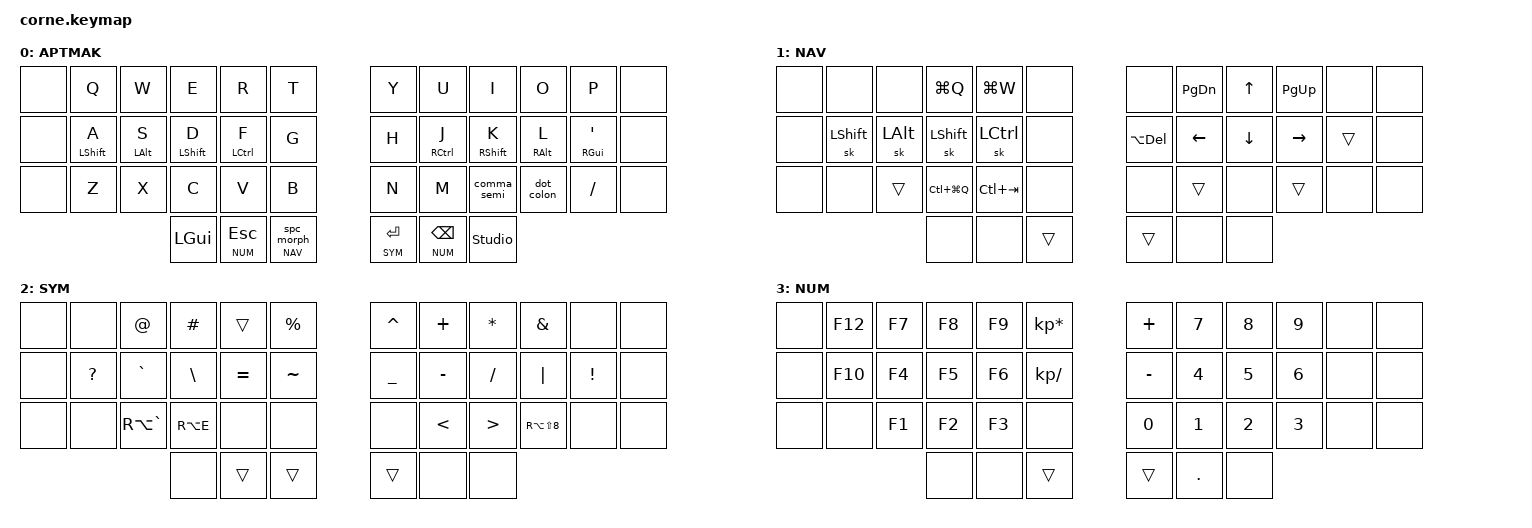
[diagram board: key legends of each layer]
#include <behaviors.dtsi>
#include <dt-bindings/zmk/bt.h>
#include <dt-bindings/zmk/ext_power.h>
#include <dt-bindings/zmk/keys.h>
#include <dt-bindings/zmk/mouse.h>

#include <dt-bindings/zmk/outputs.h>


// layers ID definition
#define BASE 0
#define NAV 1
#define SYM 2
#define NUM 3
#define ADJ 4
#define LOCKL 5

#define ___ &none

#include "combos.dtsi"


// tapping term definition
#define TAP_TERM_MS 200
#define QUICK_TAP_MS 125

// macros definition
#define meh LG(LC(LALT))
#define hyper LG(LC(LS(LALT)))
#define deg RA(LS(N8))


// 36 keys physical layout
#define LEFT_KEYS 0 1 2 3 4 10 11 12 13 14 20 21 22 23 24 // left-hand keys
#define RIGHT_KEYS 5 6 7 8 9 15 16 17 18 19 25 26 27 28 29 // right-hand keys
#define THUMBS 30 31 32 33 34 35 // thumb keys

// tune mod tap
&mt {
    flavor = "tap-preferred";
    tapping_term_ms = <200>;
};

// layer tap config
&lt {
    flavor = "balanced";
    tapping-term-ms = <TAP_TERM_MS>;
    quick-tap-ms = <QUICK_TAP_MS>;      // double-tap + hold repeats tap-key
};

// tune sticky key
&sk {
    release-after-ms = <1000>;
    quick-release;
};

// sticky layer config
&sl {
    release-after-ms = <700>;
};

// caps word settings
&caps_word {
    continue-list = <UNDERSCORE MINUS BSPC N1 N2 N3 N4 N5 N6 N7 N8 N9 N0>;
};


// main tree
/ {
    behaviors {
        // HOME ROW MODS
        hml: left_hand_positional_hold_tap {
            compatible = "zmk,behavior-hold-tap";
            label = "LEFT_POSITIONAL_HOLD_TAP";
            #binding-cells = <2>;
            flavor = "balanced";
            tapping-term-ms = <TAP_TERM_MS>;
            quick-tap-ms = <QUICK_TAP_MS>;       // double-tap + hold repeats tap-key
            require-prior-idle-ms = <150>;         // without PR #1387 use global-quick-tap instead
            bindings = <&kp>, <&kp>;
            hold-trigger-key-positions = <RIGHT_KEYS THUMBS>;
            hold-trigger-on-release;
        };

        hmr: right_hand_positional_hold_tap {
            compatible = "zmk,behavior-hold-tap";
            label = "RIGHT_POSITIONAL_HOLD_TAP";
            #binding-cells = <2>;
            flavor = "balanced";
            tapping-term-ms = <TAP_TERM_MS>;
            quick-tap-ms = <QUICK_TAP_MS>;       // double-tap + hold repeats tap-key
            require-prior-idle-ms = <150>;         // without PR #1387 use global-quick-tap instead
            bindings = <&kp>, <&kp>;
            hold-trigger-key-positions = <LEFT_KEYS THUMBS>;
            hold-trigger-on-release;
        };

        // tap: sticky-shift | lshft + tap: caps-word | hold: set in keymap (HYPER)
        ss_cw: ss_cw {
            compatible = "zmk,behavior-mod-morph";
            label = "SS_CW";
            #binding-cells = <0>;
            bindings = <&sk LSHFT>, <&caps_word>;
            mods = <(MOD_LSFT|MOD_RSFT)>;
        };
        lt_shft: lt_shft {
            compatible = "zmk,behavior-hold-tap";
            label = "LT_SHFT";
            #binding-cells = <2>;
            tapping-term-ms = <TAP_TERM_MS>;
            quick-tap-ms = <QUICK_TAP_MS>;
            flavor = "balanced";
            bindings = <&kp>, <&ss_cw>;
        };

        // tap: space | shft + tap: dot -> space -> sticky shift | hold: activate layer
        spc_morph: spc_morph {
            compatible = "zmk,behavior-mod-morph";
            label = "SPC_MORPH";
            #binding-cells = <0>;
            bindings = <&kp SPACE>, <&dot_spc>;
            mods = <(MOD_LSFT)>;
        };
        lt_spc: lt_spc {
            compatible = "zmk,behavior-hold-tap";
            label = "LT_SPC";
            #binding-cells = <2>;
            tapping-term-ms = <TAP_TERM_MS>;
            quick-tap-ms = <QUICK_TAP_MS>;
            flavor = "balanced";
            bindings = <&mo>, <&spc_morph>;
        };

        //usefull mod-morphs
        dot_colon: dot_colon {
            compatible = "zmk,behavior-mod-morph";
            label = "DOT_TO_COLON";
            #binding-cells = <0>;
            bindings = <&kp DOT>, <&kp COLON>;
            mods = <(MOD_LSFT|MOD_RSFT)>;
        };
        comma_semi: comma_semi {
            compatible = "zmk,behavior-mod-morph";
            label = "COMMA_TO_SEMICOLON";
            #binding-cells = <0>;
            bindings = <&kp COMMA>, <&kp SEMICOLON>;
            mods = <(MOD_LSFT|MOD_RSFT)>;
        };
        quest_excl: quest_excl {
            compatible = "zmk,behavior-mod-morph";
            label = "quest_to_excl";
            #binding-cells = <0>;
            bindings = <&kp QUESTION>, <&kp EXCLAMATION>;
            mods = <(MOD_LSFT|MOD_RSFT)>;
        };
        single_to_doublequote: single_to_doublequote {
            compatible = "zmk,behavior-mod-morph";
            label = "SINGLE_TO_DOUBLEQUOTE";
            #binding-cells = <0>;
            bindings = <&kp SINGLE_QUOTE>, <&kp DOUBLE_QUOTES>;
            mods = <(MOD_LSFT|MOD_RSFT)>;
        };
    };

    // macros
    macros {

        dot_spc: dot_spc{
            label = "ZM_DOT_SPACE";
            compatible = "zmk,behavior-macro";
            #binding-cells = <0>;
            wait-ms = <0>;
            tap-ms = <5>;
            bindings = <&kp DOT &kp SPACE &sk LSHFT>;
        };

        macro_par: macro_par{
            label = "ZM_PAR";
            compatible = "zmk,behavior-macro";
            #binding-cells = <0>;
            wait-ms = <0>;
            tap-ms = <5>;
            bindings = <&kp LPAR &kp RPAR &kp LEFT>;
        };
        macro_bkt: macro_bkt{
            label = "ZM_BKT";
            compatible = "zmk,behavior-macro";
            #binding-cells = <0>;
            wait-ms = <0>;
            tap-ms = <5>;
            bindings = <&kp LBKT &kp RBKT &kp LEFT>;
        };
        macro_brc: macro_brc{
            label = "ZM_BRC";
            compatible = "zmk,behavior-macro";
            #binding-cells = <0>;
            wait-ms = <0>;
            tap-ms = <5>;
            bindings = <&kp LBRC &kp RBRC &kp LEFT>;
        };
    };

    conditional_layers {
        compatible = "zmk,conditional-layers";
        tri_layer {
            if-layers = <NAV SYM>;
            then-layer = <ADJ>;
        };
    };

    keymap {
        compatible = "zmk,keymap";

        default_layer {
            label = "APTMAK";
            bindings = <
             //╭──────────────┬──────────────┬──────────────┬──────────────┬──────────────╮     ╭──────────────┬──────────────┬──────────────┬──────────────┬──────────────╮
   ___             &kp Q            &kp W          &kp E          &kp R         &kp T                 &kp Y          &kp U          &kp I          &kp O          &kp P  ___
             //├──────────────┼──────────────┼──────────────┼──────────────┼──────────────┤     ├──────────────┼──────────────┼──────────────┼──────────────┼──────────────┤
   ___             &hml LSHIFT A   &hml LALT S    &hml LSHIFT D  &hml LCTRL F   &kp G                 &kp H          &hmr RCTRL J    &hmr RSHIFT K  &hmr RALT L    &hmr RGUI SINGLE_QUOTE  ___
             //├──────────────┼──────────────┼──────────────┼──────────────┼──────────────┤     ├──────────────┼──────────────┼──────────────┼──────────────┼──────────────┤
   ___             &kp Z            &kp X          &kp C          &kp V         &kp B                   &kp N            &kp M     &comma_semi     &dot_colon     &kp SLASH  ___
             //╰──────────────┴──────────────┼──────────────┼──────────────┼──────────────┤     ├──────────────┼──────────────┼──────────────┼──────────────┴──────────────╯
                                              &kp LGUI        &lt NUM ESC    &lt_spc NAV 0       &lt SYM RET    &lt NUM BSPC   &studio_unlock
             //                              ╰──────────────┴──────────────┴──────────────╯     ╰──────────────┴──────────────┴──────────────╯
            >;
        };

        nav_layer{
            label = "NAV";
            bindings = <
             //╭──────────────┬──────────────┬──────────────┬──────────────┬──────────────╮     ╭──────────────┬──────────────┬──────────────┬──────────────┬──────────────╮
       ___          ___            ___            &kp LG(Q)      &kp LG(W)      ___                  ___            &kp PG_DN      &kp UP         &kp PG_UP      ___  ___
             //├──────────────┼──────────────┼──────────────┼──────────────┼──────────────┤     ├──────────────┼──────────────┼──────────────┼──────────────┼──────────────┤
        ___         &sk LSHIFT      &sk LALT       &sk LSHFT      &sk LCTRL      ___                  &kp LA(DEL)    &kp LEFT       &kp DOWN       &kp RIGHT      &trans  ___
             //├──────────────┼──────────────┼──────────────┼──────────────┼──────────────┤     ├──────────────┼──────────────┼──────────────┼──────────────┼──────────────┤
     ___            ___            &trans       &kp LC(LG(Q))  &kp LC(TAB)    ___                  ___            &trans   ___            &trans   ___  ___
             //╰──────────────┴──────────────┼──────────────┼──────────────┼──────────────┤     ├──────────────┼──────────────┼──────────────┼──────────────┴──────────────╯
                                              ___            ___            &trans               &trans         ___            ___
             //                              ╰──────────────┴──────────────┴──────────────╯     ╰──────────────┴──────────────┴──────────────╯
            >;
        };

        symbols {
            label = "SYM";
            bindings = <
             //╭──────────────┬──────────────┬──────────────┬──────────────┬──────────────╮     ╭──────────────┬──────────────┬──────────────┬──────────────┬──────────────╮
       ___          ___            &kp AT         &kp HASH       &trans    &kp PERCENT          &kp CARET      &kp PLUS       &kp ASTRK      &kp AMPS       ___  ___
             //├──────────────┼──────────────┼──────────────┼──────────────┼──────────────┤     ├──────────────┼──────────────┼──────────────┼──────────────┼──────────────┤
       ___          &kp QUESTION   &kp GRAVE      &kp BSLH       &kp EQUAL      &kp TILDE            &kp UNDER      &kp MINUS      &kp SLASH      &kp PIPE       &kp EXCL  ___
             //├──────────────┼──────────────┼──────────────┼──────────────┼──────────────┤     ├──────────────┼──────────────┼──────────────┼──────────────┼──────────────┤
        ___         ___            &kp RA(GRAVE)  &kp RA(E)      ___            ___                  ___            &kp LT         &kp GT         &kp deg        ___  ___
             //╰──────────────┴──────────────┼──────────────┼──────────────┼──────────────┤     ├──────────────┼──────────────┼──────────────┼──────────────┴──────────────╯
                                              ___            &trans         &trans               &trans         ___            ___
             //                              ╰──────────────┴──────────────┴──────────────╯     ╰──────────────┴──────────────┴──────────────╯
            >;
        };

        num_layer{
            label = "NUM";
            bindings = <
             //╭──────────────┬──────────────┬──────────────┬──────────────┬──────────────╮     ╭──────────────┬──────────────┬──────────────┬──────────────┬──────────────╮
       ___          &kp F12        &kp F7         &kp F8         &kp F9         &kp KP_MULTIPLY      &kp PLUS    &kp N7      &kp N8      &kp N9      ___  ___
             //├──────────────┼──────────────┼──────────────┼──────────────┼──────────────┤     ├──────────────┼──────────────┼──────────────┼──────────────┼──────────────┤
       ___          &kp F10        &kp F4         &kp F5         &kp F6         &kp KP_DIVIDE        &kp MINUS   &kp N4      &kp N5      &kp N6      ___  ___
             //├──────────────┼──────────────┼──────────────┼──────────────┼──────────────┤     ├──────────────┼──────────────┼──────────────┼──────────────┼──────────────┤
        ___         ___            &kp F1         &kp F2         &kp F3         ___                  &kp N0            &kp N1      &kp N2      &kp N3      ___  ___
             //╰──────────────┴──────────────┼──────────────┼──────────────┼──────────────┤     ├──────────────┼──────────────┼──────────────┼──────────────┴──────────────╯
                                              ___            ___            &trans               &trans      &kp DOT        ___
             //                              ╰──────────────┴──────────────┴──────────────╯     ╰──────────────┴──────────────┴──────────────╯
            >;
        };


conditional_layers { compatible = "zmk,conditional-layers"; };
    };
};
